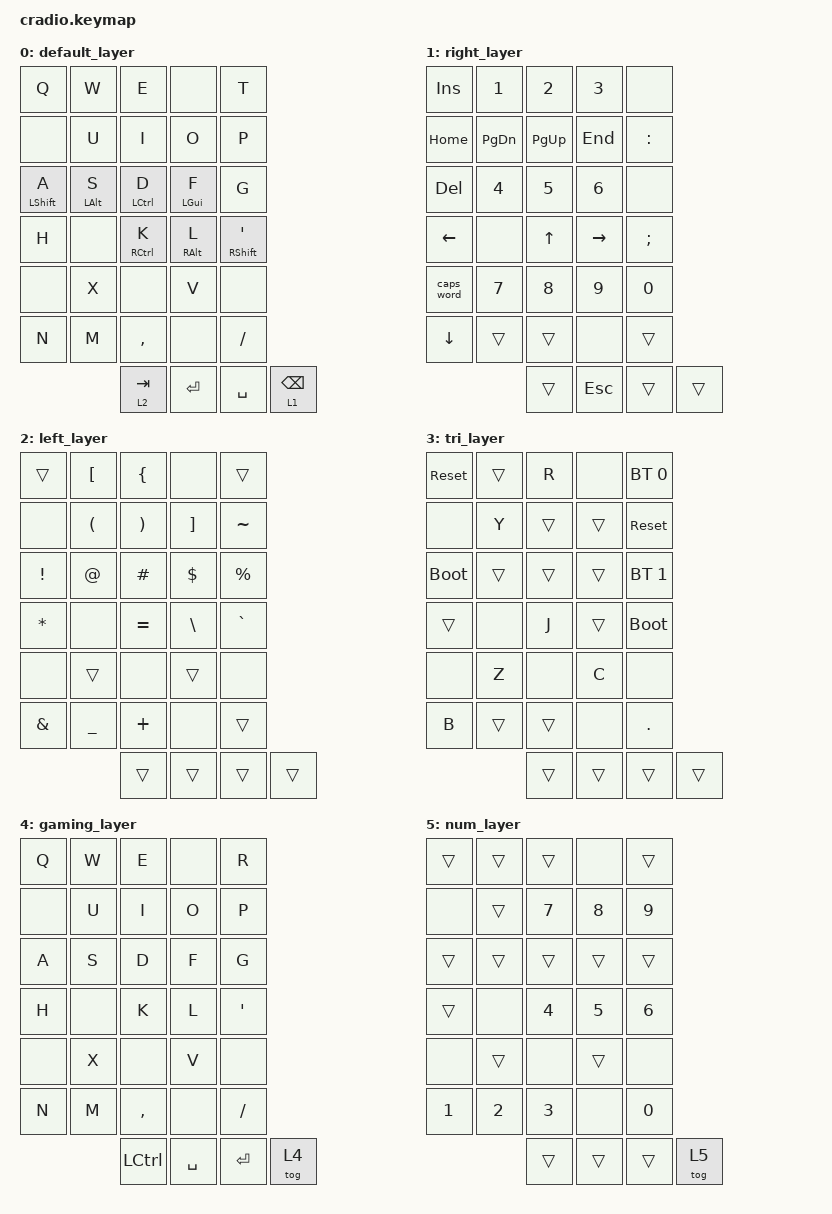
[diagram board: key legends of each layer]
// Copyright (c) 2022 The ZMK Contributors
// SPDX-License-Identifier: MIT

#include <behaviors.dtsi>
#include <dt-bindings/zmk/keys.h>
#include <dt-bindings/zmk/bt.h>

/ {
    behaviors {
        ht: hold_tap {
            compatible = "zmk,behavior-hold-tap";
            #binding-cells = <2>;
            flavor = "tap-preferred";
            tapping-term-ms = <200>;
            quick-tap-ms = <125>;
            require-prior-idle-ms = <150>;
            bindings = <&kp>, <&kp>;
        };
    };

    combos {
        compatible = "zmk,combos";
        combo_r      { timeout-ms = <50>; key-positions = <2 4>;   bindings = <&kp R>; };
        combo_y      { timeout-ms = <50>; key-positions = <6 7>;   bindings = <&kp Y>; };
        combo_j      { timeout-ms = <50>; key-positions = <15 17>; bindings = <&kp J>; };
        combo_dot    { timeout-ms = <50>; key-positions = <27 29>; bindings = <&kp DOT>; };
        combo_z      { timeout-ms = <50>; key-positions = <21 23>; bindings = <&kp Z>; };
        combo_c      { timeout-ms = <50>; key-positions = <12 21>; bindings = <&kp C>; };
        combo_b      { timeout-ms = <50>; key-positions = <14 23>; bindings = <&kp B>; };
        combo_gaming { timeout-ms = <50>; key-positions = <0 1>;   bindings = <&tog 4>; };
        combo_numpad { timeout-ms = <50>; key-positions = <1 2>;   bindings = <&tog 5>; };
    };

    conditional_layers {
        compatible = "zmk,conditional-layers";
        tri_layer {
            if-layers = <1 2>;
            then-layer = <3>;
        };
    };

    keymap {
        compatible = "zmk,keymap";

        default_layer {
            bindings = <
                &kp Q          &kp W         &kp E         &none          &kp T
                &none          &kp U         &kp I         &kp O          &kp P
                &ht LSHFT A    &ht LALT S    &ht LCTRL D   &ht LGUI F     &kp G
                &kp H          &none         &ht RCTRL K   &ht RALT L     &ht RSHFT SQT
                &none          &kp X         &none         &kp V          &none
                &kp N          &kp M         &kp COMMA     &none          &kp FSLH
                                             &lt 2 TAB     &kp ENTER      &kp SPACE      &lt 1 BSPC
            >;
        };

        right_layer {
            bindings = <
                &kp INS        &kp N1        &kp N2        &kp N3         &none
                &kp HOME       &kp PG_DN     &kp PG_UP     &kp END        &kp COLON
                &kp DEL        &kp N4        &kp N5        &kp N6         &none
                &kp LEFT       &none         &kp UP        &kp RIGHT      &kp SEMI
                &caps_word     &kp N7        &kp N8        &kp N9         &kp N0
                &kp DOWN       &trans        &trans        &none          &trans
                                             &trans        &kp ESC        &trans         &trans
            >;
        };

        left_layer {
            bindings = <
                &trans         &kp LBKT      &kp LBRC      &none          &trans
                &none          &kp LPAR      &kp RPAR      &kp RBKT       &kp TILDE
                &kp EXCL       &kp AT        &kp HASH      &kp DLLR       &kp PRCNT
                &kp ASTRK      &none         &kp EQUAL     &kp BSLH       &kp GRAVE
                &none          &trans        &none         &trans         &none
                &kp AMPS       &kp UNDER     &kp PLUS      &none          &trans
                                             &trans        &trans         &trans         &trans
            >;
        };

        tri_layer {
            bindings = <
                &sys_reset     &trans        &kp R         &none          &bt BT_SEL 0
                &none          &kp Y         &trans        &trans         &sys_reset
                &bootloader    &trans        &trans        &trans         &bt BT_SEL 1
                &trans         &none         &kp J         &trans         &bootloader
                &none          &kp Z         &none         &kp C          &none
                &kp B          &trans        &trans        &none          &kp DOT
                                             &trans        &trans         &trans         &trans
            >;
        };

        gaming_layer {
            bindings = <
                &kp Q          &kp W         &kp E         &none          &kp R
                &none          &kp U         &kp I         &kp O          &kp P
                &kp A          &kp S         &kp D         &kp F          &kp G
                &kp H          &none         &kp K         &kp L          &kp SQT
                &none          &kp X         &none         &kp V          &none
                &kp N          &kp M         &kp COMMA     &none          &kp FSLH
                                             &kp LCTRL     &kp SPACE      &kp ENTER      &tog 4
            >;
        };

        num_layer {
            bindings = <
                &trans         &trans        &trans        &none          &trans
                &none          &trans        &kp N7        &kp N8         &kp N9
                &trans         &trans        &trans        &trans         &trans
                &trans         &none         &kp N4        &kp N5         &kp N6
                &none          &trans        &none         &trans         &none
                &kp N1         &kp N2        &kp N3        &none          &kp N0
                                             &trans        &trans         &trans         &tog 5
            >;
        };
    };
};
